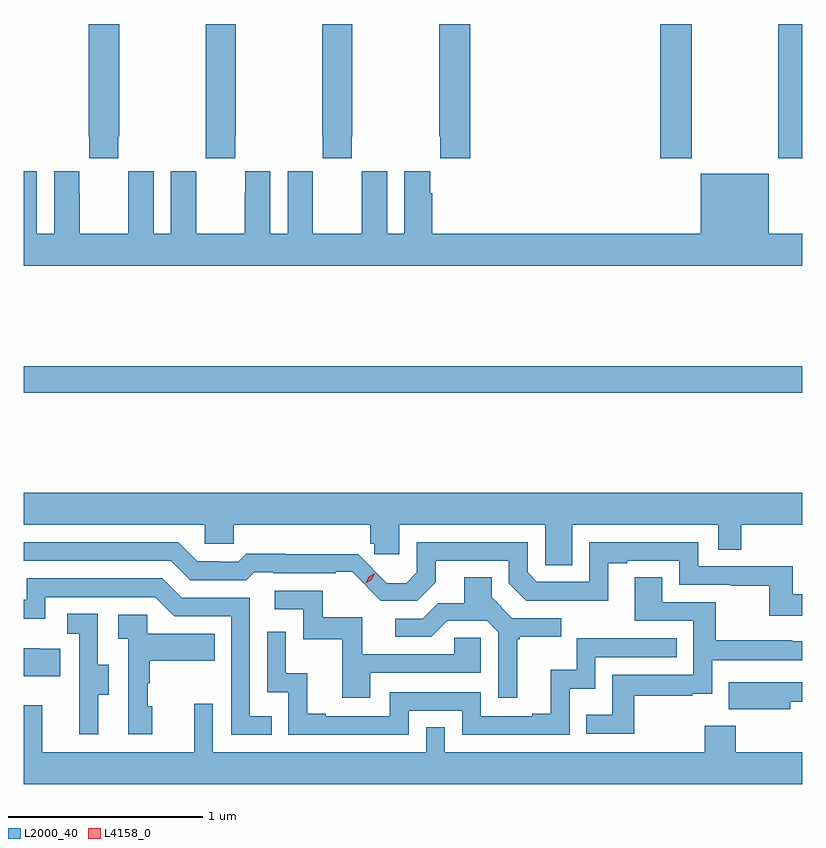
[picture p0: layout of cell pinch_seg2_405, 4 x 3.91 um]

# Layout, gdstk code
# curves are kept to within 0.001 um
import gdstk
lib = gdstk.Library(unit=1e-6, precision=1e-09)
def R(c, l, rs):  # rectangles x0, y0, x1, y1
    for r in rs: c.add(gdstk.rectangle(r[:2], r[2:], *l))
def P(c, l, *ps):  # polygons
    for p in ps: c.add(gdstk.Polygon(p, *l))
L2000_40 = (2000, 40)
L4158_0 = (4158, 0)

pinch_seg2_405 = lib.new_cell('pinch_seg2_405')
R(pinch_seg2_405, L2000_40, [(996.825,613.684,1000.825,613.82), (1000.097,614.889,1000.257,615.578), (1000.702,614.889,1000.825,615.578)])
P(pinch_seg2_405, L2000_40, [(998.511,615.001),(998.514,615.001),(998.514,615.578),(998.359,615.578),(998.359,615.001),(998.361,615.001),(998.361,614.889),(998.511,614.889)],
  [(999.119,615.578),(998.959,615.578),(998.959,615.001),(998.965,615.001),(998.965,614.889),(999.119,614.889)],
  [(997.911,615.001),(997.914,615.001),(997.914,615.578),(997.759,615.578),(997.759,615.001),(997.761,615.001),(997.761,614.889),(997.911,614.889)],
  [(997.311,615.001),(997.314,615.001),(997.314,615.578),(997.159,615.578),(997.159,615.001),(997.161,615.001),(997.161,614.889),(997.311,614.889)],
  [(998.18,614.821),(998.18,614.5),(998.092,614.5),(998.092,614.821),(997.962,614.821),(997.962,614.708),(997.961,614.708),(997.961,614.5),(997.711,614.5),(997.711,614.708),(997.71,614.708),(997.71,614.821),(997.58,614.821),(997.58,614.5),(997.492,614.5),(997.492,614.821),(997.362,614.821),(997.362,614.708),(997.361,614.708),(997.361,614.5),(997.111,614.5),(997.111,614.708),(997.11,614.708),(997.11,614.821),(996.98,614.821),(996.98,614.5),(996.892,614.5),(996.892,614.821),(996.825,614.821),(996.825,614.336),(1000.825,614.336),(1000.825,614.5),(1000.654,614.5),(1000.654,614.809),(1000.304,614.809),(1000.304,614.5),(998.924,614.5),(998.924,614.708),(998.914,614.708),(998.914,614.821),(998.78,614.821),(998.78,614.5),(998.692,614.5),(998.692,614.821),(998.562,614.821),(998.562,614.708),(998.561,614.708),(998.561,614.5),(998.311,614.5),(998.311,614.708),(998.31,614.708),(998.31,614.821)],
  [(999.643,613.004),(1000.395,613.004),(1000.395,612.877),(1000.511,612.877),(1000.511,613.004),(1000.825,613.004),(1000.825,613.168),(996.825,613.168),(996.825,613.004),(997.755,613.004),(997.755,612.906),(997.905,612.906),(997.905,613.004),(998.605,613.004),(998.605,612.906),(998.625,612.906),(998.625,612.852),(998.755,612.852),(998.755,613.004),(999.504,613.004),(999.504,612.796),(999.643,612.796)],
  [(1000.825,612.646),(1000.777,612.646),(1000.777,612.792),(1000.29,612.792),(1000.29,612.915),(999.732,612.915),(999.732,612.711),(999.462,612.711),(999.414,612.759),(999.414,612.915),(998.844,612.915),(998.844,612.759),(998.79,612.705),(998.691,612.705),(998.543,612.853),(998.168,612.853),(998.168,612.856),(997.969,612.856),(997.927,612.813),(997.824,612.813),(997.824,612.816),(997.717,612.816),(997.618,612.915),(996.825,612.915),(996.825,612.819),(997.581,612.819),(997.68,612.72),(997.969,612.72),(998.008,612.759),(998.107,612.759),(998.107,612.756),(998.427,612.756),(998.427,612.762),(998.512,612.762),(998.659,612.615),(998.847,612.615),(998.941,612.709),(998.941,612.819),(999.318,612.819),(999.318,612.705),(999.408,612.615),(999.829,612.614),(999.829,612.807),(999.925,612.807),(999.925,612.819),(1000.194,612.819),(1000.194,612.696),(1000.459,612.696),(1000.459,612.691),(1000.656,612.691),(1000.656,612.536),(1000.825,612.536)],
  [(999.361,612.417),(999.373,612.417),(999.373,612.428),(999.586,612.428),(999.586,612.525),(999.336,612.525),(999.229,612.632),(999.229,612.734),(999.089,612.734),(999.089,612.602),(998.954,612.602),(998.874,612.522),(998.733,612.522),(998.733,612.429),(998.92,612.429),(999.001,612.51),(999.207,612.51),(999.264,612.453),(999.264,612.114),(999.361,612.114)],
  [(999.961,612.126),(1000.259,612.126),(1000.259,612.137),(1000.362,612.137),(1000.362,612.309),(1000.825,612.309),(1000.825,612.405),(1000.775,612.405),(1000.775,612.41),(1000.382,612.41),(1000.382,612.606),(1000.105,612.606),(1000.105,612.734),(999.965,612.734),(999.965,612.51),(1000.266,612.51),(1000.266,612.234),(999.85,612.234),(999.85,612.028),(999.715,612.028),(999.715,611.931),(999.961,611.931)],
  [(998.099,612.021),(997.986,612.021),(997.986,612.63),(997.636,612.63),(997.537,612.729),(996.84,612.729),(996.84,612.618),(996.825,612.618),(996.825,612.521),(996.936,612.521),(996.936,612.633),(997.5,612.633),(997.599,612.534),(997.89,612.534),(997.89,611.925),(998.099,611.925)],
  [(998.605,612.243),(999.174,612.243),(999.174,612.423),(999.037,612.423),(999.037,612.339),(998.563,612.339),(998.563,612.528),(998.36,612.528),(998.36,612.666),(998.115,612.666),(998.115,612.57),(998.262,612.57),(998.262,612.417),(998.461,612.417),(998.461,612.114),(998.605,612.114)],
  [(997.207,612.13),(997.261,612.13),(997.261,612.285),(997.206,612.285),(997.206,612.548),(997.047,612.548),(997.047,612.445),(997.11,612.445),(997.11,612.141),(997.109,612.141),(997.109,611.928),(997.207,611.928)],
  [(997.486,612.072),(997.461,612.072),(997.461,612.191),(997.471,612.191),(997.471,612.305),(997.805,612.305),(997.805,612.445),(997.458,612.445),(997.458,612.543),(997.311,612.543),(997.311,612.419),(997.362,612.419),(997.362,611.928),(997.486,611.928)],
  [(998.802,612.048),(999.078,612.048),(999.078,611.925),(999.63,611.925),(999.63,612.161),(999.762,612.161),(999.762,612.324),(1000.181,612.324),(1000.181,612.42),(999.666,612.42),(999.666,612.259),(999.533,612.259),(999.533,612.034),(999.437,612.034),(999.437,612.021),(999.174,612.021),(999.174,612.144),(998.706,612.144),(998.706,612.021),(998.377,612.021),(998.377,612.034),(998.282,612.034),(998.282,612.242),(998.172,612.242),(998.172,612.454),(998.076,612.454),(998.076,612.144),(998.184,612.144),(998.184,611.925),(998.802,611.925)],
  [(997.013,612.367),(996.905,612.367),(996.905,612.37),(996.825,612.37),(996.825,612.227),(997.013,612.227)],
  [(1000.765,612.094),(1000.825,612.094),(1000.825,612.195),(1000.661,612.195),(1000.661,612.196),(1000.447,612.196),(1000.447,612.056),(1000.765,612.056)],
  [(1000.825,611.836),(1000.484,611.836),(1000.484,611.971),(1000.324,611.971),(1000.324,611.836),(998.988,611.836),(998.988,611.963),(998.892,611.963),(998.892,611.836),(997.797,611.836),(997.797,612.085),(997.7,612.085),(997.7,611.836),(996.919,611.836),(996.919,612.076),(996.825,612.076),(996.825,611.672),(1000.825,611.672)])
P(pinch_seg2_405, L4158_0, [(998.582,612.704),(998.582,612.704),(998.598,612.736),(998.629,612.754),(998.629,612.754),(998.629,612.754),(998.613,612.722),(998.582,612.704)])

lib.write_gds('pinch_seg2_405.gds')
